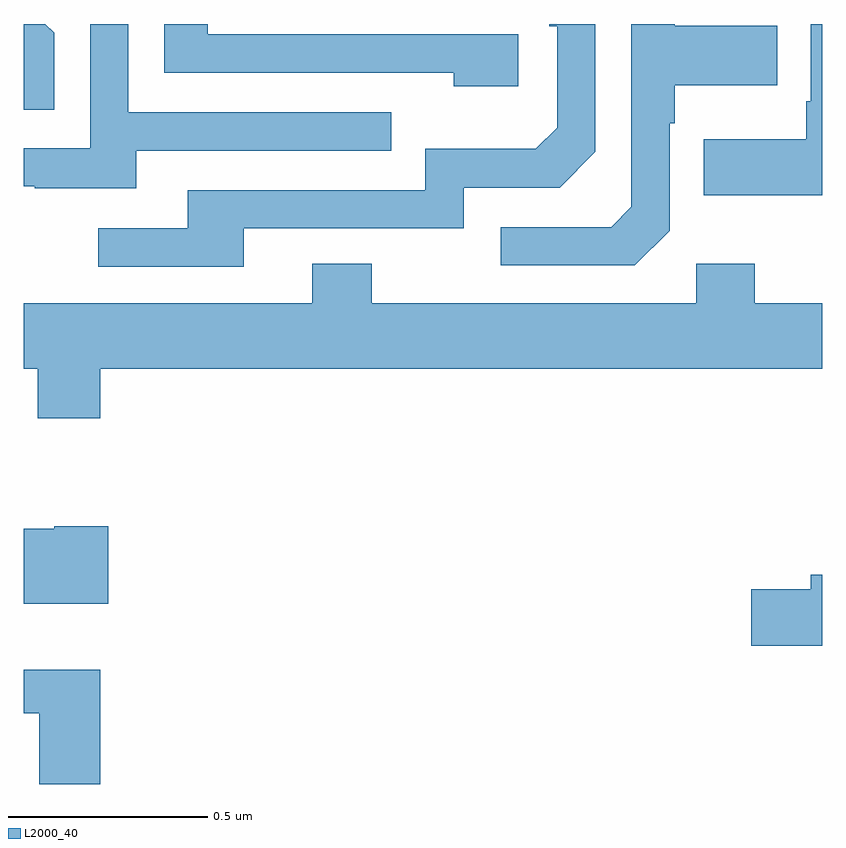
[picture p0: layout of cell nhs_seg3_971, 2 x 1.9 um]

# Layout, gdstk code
import gdstk
lib = gdstk.Library(unit=1e-6, precision=1e-09)
def P(c, l, *ps):  # polygons
    for p in ps: c.add(gdstk.Polygon(p, *l))
L2000_40 = (2000, 40)

nhs_seg3_971 = lib.new_cell('nhs_seg3_971')
P(nhs_seg3_971, L2000_40, [(123.238,748.374),(122.461,748.374),(122.461,748.4),(122.352,748.4),(122.352,748.278),(123.077,748.278),(123.077,748.244),(123.238,748.244)],
  [(122.076,748.378),(122.054,748.4),(122,748.4),(122,748.185),(122.076,748.185)],
  [(122.551,747.888),(123.102,747.888),(123.102,747.99),(123.342,747.99),(123.432,748.08),(123.432,748.4),(123.316,748.4),(123.316,748.394),(123.336,748.394),(123.336,748.14),(123.283,748.087),(123.006,748.087),(123.006,747.984),(122.411,747.984),(122.411,747.888),(122.187,747.888),(122.187,747.792),(122.551,747.792)],
  [(124,748.4),(123.972,748.4),(123.972,748.207),(123.96,748.207),(123.96,748.111),(123.703,748.111),(123.703,747.971),(124,747.971)],
  [(123.618,747.882),(123.618,748.151),(123.631,748.151),(123.631,748.247),(123.887,748.247),(123.887,748.395),(123.631,748.395),(123.631,748.4),(123.522,748.4),(123.522,747.942),(123.471,747.891),(123.195,747.891),(123.195,747.795),(123.531,747.795)],
  [(122.281,748.083),(122.921,748.083),(122.921,748.179),(122.262,748.179),(122.262,748.4),(122.166,748.4),(122.166,748.089),(122,748.089),(122,747.993),(122.027,747.993),(122.027,747.989),(122.281,747.989)],
  [(122.192,747.536),(124,747.536),(124,747.7),(123.831,747.7),(123.831,747.799),(123.684,747.799),(123.684,747.7),(122.871,747.7),(122.871,747.799),(122.723,747.799),(122.723,747.7),(122,747.7),(122,747.536),(122.035,747.536),(122.035,747.412),(122.192,747.412)],
  [(122.212,747.142),(122.076,747.142),(122.076,747.136),(122,747.136),(122,746.948),(122.212,746.948)],
  [(124,747.02),(123.971,747.02),(123.971,746.984),(123.822,746.984),(123.822,746.842),(124,746.842)],
  [(122.192,746.782),(122,746.782),(122,746.673),(122.039,746.673),(122.039,746.496),(122.192,746.496)])

lib.write_gds('nhs_seg3_971.gds')
